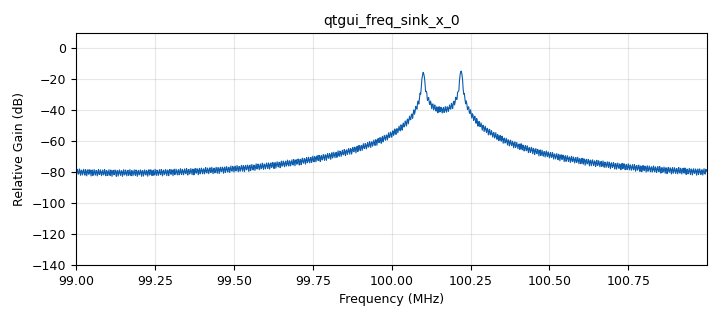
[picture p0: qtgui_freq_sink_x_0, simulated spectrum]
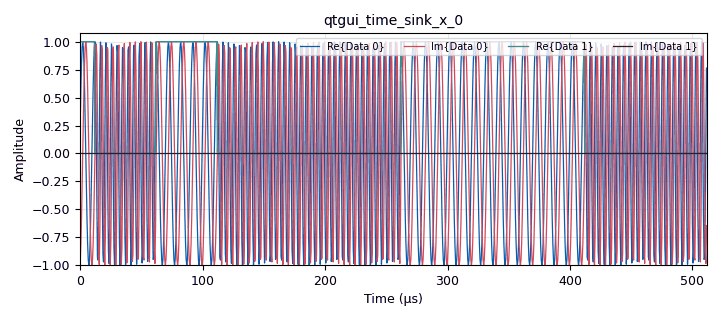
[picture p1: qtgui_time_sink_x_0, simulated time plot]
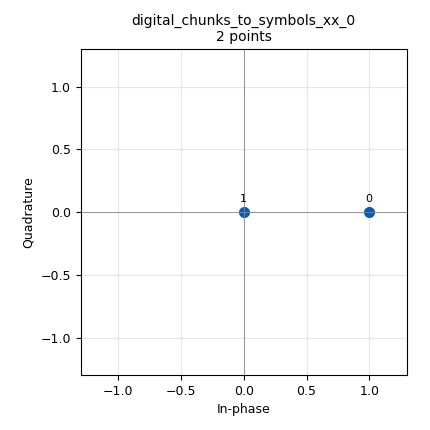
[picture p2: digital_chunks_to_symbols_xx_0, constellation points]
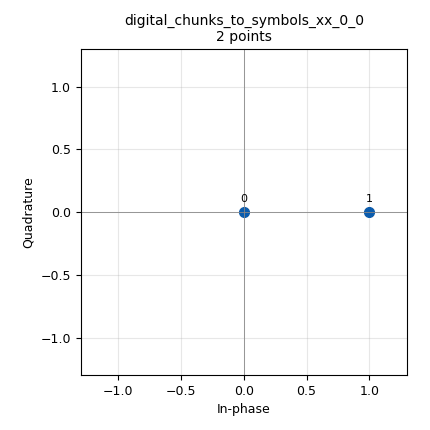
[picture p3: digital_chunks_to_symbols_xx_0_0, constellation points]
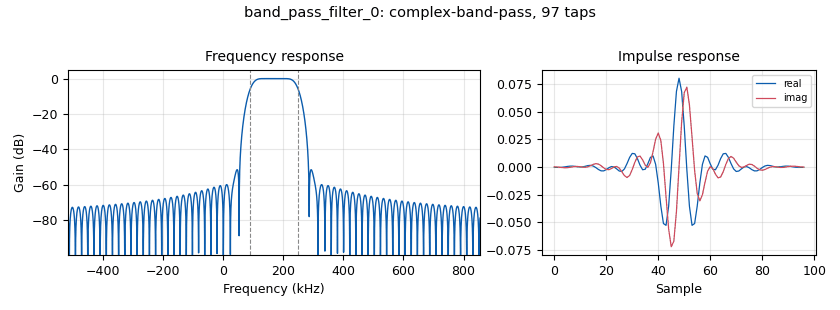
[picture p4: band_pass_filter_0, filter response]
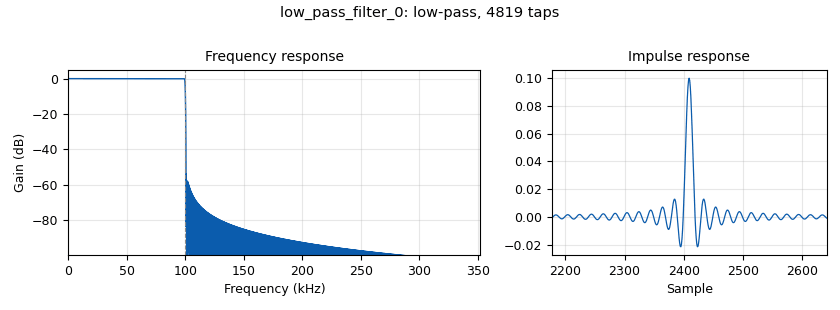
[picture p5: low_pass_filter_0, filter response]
options:
  parameters:
    generate_options: qt_gui
    id: FSK_message_double_carrier
    output_language: python
    title: FSK_message_double_carrier
  states: {}

blocks:
- name: LO_Range
  id: variable_qtgui_range
  parameters:
    orient: Qt.Horizontal
    start: '-10e3'
    step: '100'
    stop: 10e3
    value: '0'
  states: {}
- name: RX_Gain
  id: variable_qtgui_range
  parameters:
    orient: Qt.Horizontal
    start: '0'
    step: '10'
    stop: '100'
    value: '70'
  states: {}
- name: TX_Gain
  id: variable_qtgui_range
  parameters:
    orient: Qt.Horizontal
    start: '0'
    step: '10'
    stop: '100'
    value: '70'
  states: {}
- name: center_freq
  id: variable
  parameters:
    value: 100e6
  states: {}
- name: cut_off
  id: variable_qtgui_range
  parameters:
    label: cut_off
    orient: Qt.Horizontal
    start: 1e3
    step: '100'
    stop: 100e3
    value: 10e3
  states: {state: disabled}
- name: samp_rate
  id: variable
  parameters:
    value: 2e6
  states: {}
- name: transition
  id: variable_qtgui_range
  parameters:
    label: transition
    orient: Qt.Horizontal
    start: 1e3
    step: '100'
    stop: 100e3
    value: 1e3
  states: {state: disabled}
- name: analog_quadrature_demod_cf_0
  id: analog_quadrature_demod_cf
  parameters:
    gain: '1'
  states: {}
- name: analog_sig_source_x_0
  id: analog_sig_source_x
  parameters:
    amp: '1'
    freq: 100e3
    offset: '0'
    phase: '0'
    samp_rate: samp_rate
    type: complex
    waveform: analog.GR_COS_WAVE
  states: {}
- name: analog_sig_source_x_1
  id: analog_sig_source_x
  parameters:
    amp: '1'
    freq: 220e3
    offset: '0'
    phase: '0'
    samp_rate: samp_rate
    type: complex
    waveform: analog.GR_COS_WAVE
  states: {}
- name: band_pass_filter_0
  id: band_pass_filter
  parameters:
    decim: '1'
    gain: '1'
    high_cutoff_freq: 250e3
    low_cutoff_freq: 90e3
    samp_rate: samp_rate
    type: fir_filter_ccc
    width: 50e3
    win: firdes.WIN_HAMMING
  states: {}
- name: blocks_add_xx_0
  id: blocks_add_xx
  parameters:
    type: complex
  states: {}
- name: blocks_multiply_xx_0
  id: blocks_multiply_xx
  parameters:
    type: complex
  states: {}
- name: blocks_multiply_xx_0_0
  id: blocks_multiply_xx
  parameters:
    type: complex
  states: {}
- name: blocks_repeat_0
  id: blocks_repeat
  parameters:
    interp: '100'
    type: complex
  states: {}
- name: blocks_repeat_0_0
  id: blocks_repeat
  parameters:
    interp: '100'
    type: complex
  states: {}
- name: blocks_vector_source_x_0
  id: blocks_vector_source_x
  parameters:
    repeat: 'True'
    type: byte
    vector: (1, 0, 1, 0, 1, 1, 1, 0, 0, 0, 1, 1, 0, 0)
  states: {}
- name: digital_chunks_to_symbols_xx_0
  id: digital_chunks_to_symbols_xx
  parameters:
    dimension: '1'
    in_type: byte
    out_type: complex
    symbol_table: (1, 0)
  states: {}
- name: digital_chunks_to_symbols_xx_0_0
  id: digital_chunks_to_symbols_xx
  parameters:
    dimension: '1'
    in_type: byte
    out_type: complex
    symbol_table: (0, 1)
  states: {}
- name: low_pass_filter_0
  id: low_pass_filter
  parameters:
    cutoff_freq: 100e3
    decim: '1'
    gain: '1'
    samp_rate: samp_rate
    type: fir_filter_fff
    width: 1e3
    win: firdes.WIN_HAMMING
  states: {}
- name: osmosdr_sink_0
  id: osmosdr_sink
  parameters:
    bb_gain0: '20'
    bw0: samp_rate
    freq0: center_freq
    gain0: TX_Gain
    if_gain0: '20'
    sample_rate: samp_rate
    sync: sync
    type: fc32
  states: {}
- name: qtgui_const_sink_x_0
  id: qtgui_const_sink_x
  parameters:
    gui_hint: tabs@2
    size: '1024'
    type: complex
  states: {}
- name: qtgui_freq_sink_x_0
  id: qtgui_freq_sink_x
  parameters:
    bw: samp_rate
    ctrlpanel: 'True'
    fc: center_freq
    fftsize: '1024'
    gui_hint: tabs@0
    type: complex
    wintype: firdes.WIN_BLACKMAN_hARRIS
  states: {}
- name: qtgui_freq_sink_x_0_0
  id: qtgui_freq_sink_x
  parameters:
    bw: samp_rate
    ctrlpanel: 'True'
    fc: center_freq
    fftsize: '1024'
    gui_hint: tabs@1
    type: complex
    wintype: firdes.WIN_BLACKMAN_hARRIS
  states: {}
- name: qtgui_time_sink_x_0
  id: qtgui_time_sink_x
  parameters:
    ctrlpanel: 'True'
    gui_hint: tabs@0
    nconnections: '2'
    size: '1024'
    srate: samp_rate
    type: complex
  states: {}
- name: qtgui_time_sink_x_0_0_0
  id: qtgui_time_sink_x
  parameters:
    ctrlpanel: 'True'
    gui_hint: tabs@3
    size: '1024'
    srate: samp_rate
    type: float
  states: {}
- name: tabs
  id: qtgui_tab_widget
  parameters:
    label0: 1_tx_input
    label1: 2_rx_received
    label2: 3_const_input
    label3: 4_time_input
    label4: 5_freq_mult
    label5: 6_results
    num_tabs: '6'
  states: {}
- name: uhd_usrp_source_0
  id: uhd_usrp_source
  parameters:
    ant0: RX2
    bw0: samp_rate
    center_freq0: center_freq
    dc_offs_enb0: '""'
    dev_args: '""'
    gain0: RX_Gain
    iq_imbal_enb0: '""'
    norm_gain0: 'False'
    samp_rate: samp_rate
    sync: sync
    type: fc32
  states: {}

connections:
- [analog_quadrature_demod_cf_0, '0', low_pass_filter_0, '0']
- [analog_sig_source_x_0, '0', blocks_multiply_xx_0_0, '0']
- [analog_sig_source_x_1, '0', blocks_multiply_xx_0, '1']
- [band_pass_filter_0, '0', analog_quadrature_demod_cf_0, '0']
- [band_pass_filter_0, '0', qtgui_const_sink_x_0, '0']
- [band_pass_filter_0, '0', qtgui_freq_sink_x_0_0, '0']
- [blocks_add_xx_0, '0', osmosdr_sink_0, '0']
- [blocks_add_xx_0, '0', qtgui_freq_sink_x_0, '0']
- [blocks_add_xx_0, '0', qtgui_time_sink_x_0, '0']
- [blocks_multiply_xx_0, '0', blocks_add_xx_0, '1']
- [blocks_multiply_xx_0_0, '0', blocks_add_xx_0, '0']
- [blocks_repeat_0, '0', blocks_multiply_xx_0_0, '1']
- [blocks_repeat_0, '0', qtgui_time_sink_x_0, '1']
- [blocks_repeat_0_0, '0', blocks_multiply_xx_0, '0']
- [blocks_vector_source_x_0, '0', digital_chunks_to_symbols_xx_0, '0']
- [blocks_vector_source_x_0, '0', digital_chunks_to_symbols_xx_0_0, '0']
- [digital_chunks_to_symbols_xx_0, '0', blocks_repeat_0, '0']
- [digital_chunks_to_symbols_xx_0_0, '0', blocks_repeat_0_0, '0']
- [low_pass_filter_0, '0', qtgui_time_sink_x_0_0_0, '0']
- [uhd_usrp_source_0, '0', band_pass_filter_0, '0']

metadata:
  file_format: 1
